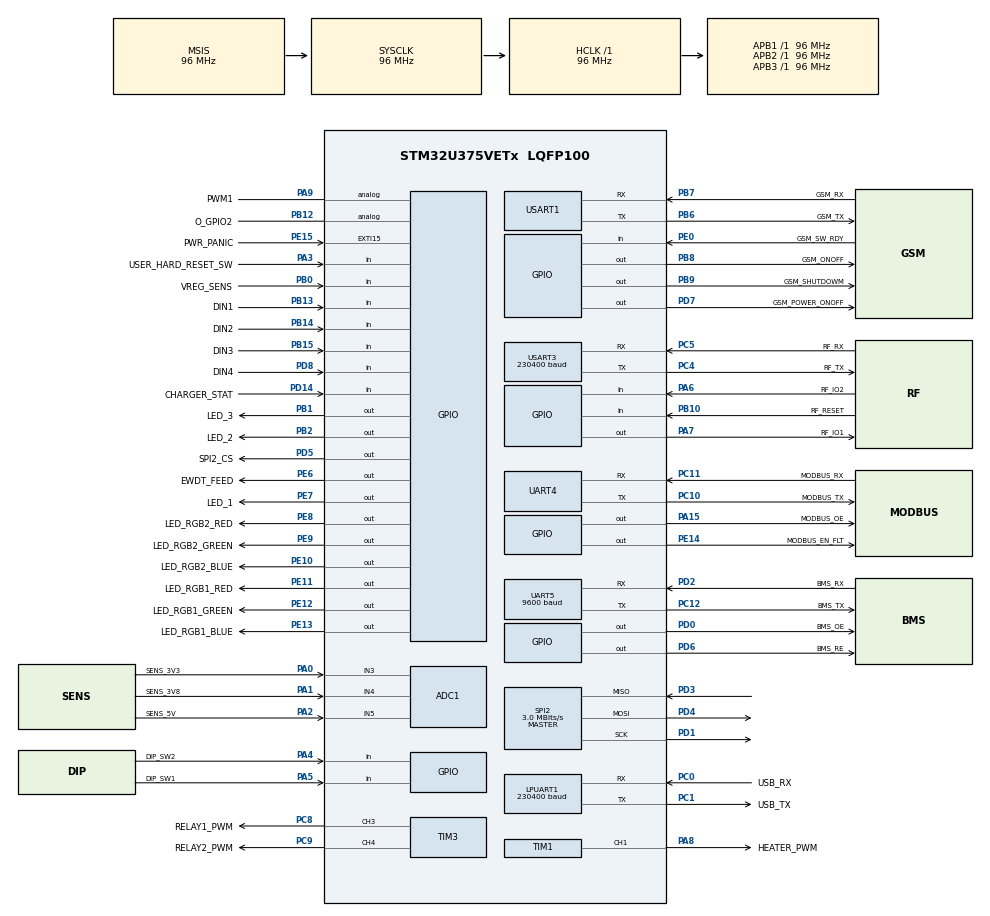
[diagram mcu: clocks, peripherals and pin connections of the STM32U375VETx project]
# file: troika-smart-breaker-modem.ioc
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ADC1.Channel-0\#ChannelRegularConversion=ADC_CHANNEL_3
ADC1.Channel-1\#ChannelRegularConversion=ADC_CHANNEL_4
ADC1.Channel-2\#ChannelRegularConversion=ADC_CHANNEL_5
ADC1.Channel-3\#ChannelRegularConversion=ADC_CHANNEL_TEMPSENSOR
ADC1.ContinuousConvMode=ENABLE
ADC1.ConversionDataManagement=ADC_CONVERSIONDATA_DMA_CIRCULAR
ADC1.EOCSelection=ADC_EOC_SEQ_CONV
ADC1.MonitoredBy-0\#ChannelRegularConversion=__NULL
ADC1.MonitoredBy-1\#ChannelRegularConversion=__NULL
ADC1.MonitoredBy-2\#ChannelRegularConversion=__NULL
ADC1.MonitoredBy-3\#ChannelRegularConversion=__NULL
ADC1.NbrOfConversion=4
ADC1.NbrOfConversionFlag=1
ADC1.OffsetNumber-0\#ChannelRegularConversion=ADC_OFFSET_NONE
ADC1.OffsetNumber-1\#ChannelRegularConversion=ADC_OFFSET_NONE
ADC1.OffsetNumber-2\#ChannelRegularConversion=ADC_OFFSET_NONE
ADC1.OffsetNumber-3\#ChannelRegularConversion=ADC_OFFSET_NONE
ADC1.Overrun=ADC_OVR_DATA_OVERWRITTEN
ADC1.OversamplingMode=ENABLE
ADC1.Rank-0\#ChannelRegularConversion=1
ADC1.Rank-1\#ChannelRegularConversion=2
ADC1.Rank-2\#ChannelRegularConversion=3
ADC1.Rank-3\#ChannelRegularConversion=4
ADC1.Ratio1=64
ADC1.RightBitShift=ADC_RIGHTBITSHIFT_6
ADC1.SamplingTime-0\#ChannelRegularConversion=ADC_SAMPLETIME_246CYCLES_5
ADC1.SamplingTime-1\#ChannelRegularConversion=ADC_SAMPLETIME_246CYCLES_5
ADC1.SamplingTime-2\#ChannelRegularConversion=ADC_SAMPLETIME_246CYCLES_5
ADC1.SamplingTime-3\#ChannelRegularConversion=ADC_SAMPLETIME_246CYCLES_5
ADC1.master=1
CORTEX_M33_NS.userName=CORTEX_M33
GPDMA1.CIRCULARMODE_GPDMACH0=ENABLE
GPDMA1.DESTDATAWIDTH_GPDMACH0=DMA_DEST_DATAWIDTH_HALFWORD
GPDMA1.DESTINC_GPDMACH0=DMA_DINC_INCREMENTED
GPDMA1.DIRECTION_GPDMACH1=DMA_MEMORY_TO_PERIPH
GPDMA1.DIRECTION_GPDMACH2=DMA_MEMORY_TO_PERIPH
GPDMA1.IPHANDLE_GPDMACH0-SIMPLEREQUEST_GPDMACH0=__NULL
GPDMA1.IPHANDLE_GPDMACH1-SIMPLEREQUEST_GPDMACH1=__NULL
GPDMA1.IPHANDLE_GPDMACH2-SIMPLEREQUEST_GPDMACH2=__NULL
GPDMA1.LINKALLOCATEDPORT_CIRCULAR_GPDMACH0=DMA_LINK_ALLOCATED_PORT0
GPDMA1.PRIORITY_GPDMACH1=DMA_LOW_PRIORITY_MID_WEIGHT
GPDMA1.REQUEST_GPDMACH0=GPDMA1_REQUEST_ADC1
GPDMA1.REQUEST_GPDMACH1=GPDMA1_REQUEST_USART1_TX
GPDMA1.REQUEST_GPDMACH2=GPDMA1_REQUEST_UART4_TX
GPDMA1.SRCDATAWIDTH_GPDMACH0=DMA_SRC_DATAWIDTH_HALFWORD
GPDMA1.SRCINC_GPDMACH1=DMA_SINC_INCREMENTED
GPDMA1.SRCINC_GPDMACH2=DMA_SINC_INCREMENTED
GPDMA1.TRANSFERALLOCATEDPORTDEST_GPDMACH0=DMA_DEST_ALLOCATED_PORT0
GPDMA1.TRANSFERALLOCATEDPORTDEST_GPDMACH1=DMA_DEST_ALLOCATED_PORT1
GPDMA1.TRANSFERALLOCATEDPORTSRC_GPDMACH0=DMA_SRC_ALLOCATED_PORT0
GPDMA1.TRANSFERALLOCATEDPORTSRC_GPDMACH1=DMA_SRC_ALLOCATED_PORT1
LPUART1.BaudRate=230400
Mcu.Family=STM32U3
Mcu.Name=STM32U375VETx
Mcu.Package=LQFP100
NVIC.EXTI15_IRQn=true\:0\:0\:false\:false\:true\:true\:true\:true
NVIC.GPDMA1_Channel0_IRQn=true\:0\:0\:false\:false\:true\:false\:true\:true
NVIC.GPDMA1_Channel1_IRQn=true\:0\:0\:false\:false\:true\:false\:true\:true
NVIC.GPDMA1_Channel2_IRQn=true\:0\:0\:false\:false\:true\:false\:true\:true
NVIC.LPUART1_IRQn=true\:0\:0\:false\:false\:true\:true\:true\:true
NVIC.PriorityGroup=NVIC_PRIORITYGROUP_4
NVIC.TIM17_IRQn=true\:15\:0\:false\:false\:true\:false\:true\:true
NVIC.TimeBase=TIM17_IRQn
NVIC.TimeBaseIP=TIM17
NVIC.UART4_IRQn=true\:0\:0\:false\:false\:true\:true\:true\:true
NVIC.UART5_IRQn=true\:0\:0\:false\:false\:true\:true\:true\:true
NVIC.USART1_IRQn=true\:0\:0\:false\:false\:true\:true\:true\:true
NVIC.USART3_IRQn=true\:0\:0\:false\:false\:true\:true\:true\:true
PA0.GPIO_Label=SENS_3V3
PA0.Mode=IN3-Single-Ended
PA0.Signal=ADC1_IN3
PA1.GPIO_Label=SENS_3V8
PA1.Mode=IN4-Single-Ended
PA1.Signal=ADC1_IN4
PA13\ (JTMS/SWDIO).Mode=Serial_Wire
PA13\ (JTMS/SWDIO).Signal=DEBUG_JTMS-SWDIO
PA14\ (JTCK/SWCLK).Mode=Serial_Wire
PA14\ (JTCK/SWCLK).Signal=DEBUG_JTCK-SWCLK
PA15\ (JTDI).GPIO_Label=MODBUS_OE
PA15\ (JTDI).Signal=GPIO_Output
PA2.GPIO_Label=SENS_5V
PA2.Mode=IN5-Single-Ended
PA2.Signal=ADC1_IN5
PA3.GPIO_Label=USER_HARD_RESET_SW
PA3.Signal=GPIO_Input
PA4.GPIO_Label=DIP_SW2
PA4.Signal=GPIO_Input
PA5.GPIO_Label=DIP_SW1
PA5.Signal=GPIO_Input
PA6.GPIO_Label=RF_IO2
PA6.Signal=GPIO_Input
PA7.GPIO_Label=RF_IO1
PA7.GPIO_Speed=GPIO_SPEED_FREQ_VERY_HIGH
PA7.Signal=GPIO_Output
PA8.GPIO_Label=HEATER_PWM
PA8.Signal=S_TIM1_CH1
PA9.GPIO_Label=PWM1
PA9.Signal=GPIO_Analog
PB0.GPIO_Label=VREG_SENS
PB0.Signal=GPIO_Input
PB1.GPIO_Label=LED_3
PB1.PinState=GPIO_PIN_SET
PB1.Signal=GPIO_Output
PB10.GPIO_Label=RF_RESET
PB10.Signal=GPIO_Input
PB12.GPIO_Label=O_GPIO2
PB12.Signal=GPIO_Analog
PB13.GPIO_Label=DIN1
PB13.Signal=GPIO_Input
PB14.GPIO_Label=DIN2
PB14.Signal=GPIO_Input
PB15.GPIO_Label=DIN3
PB15.Signal=GPIO_Input
PB2.GPIO_Label=LED_2
PB2.PinState=GPIO_PIN_SET
PB2.Signal=GPIO_Output
PB6.GPIO_Label=GSM_TX
PB6.Mode=Asynchronous
PB6.Signal=USART1_TX
PB7.GPIO_Label=GSM_RX
PB7.Mode=Asynchronous
PB7.Signal=USART1_RX
PB8.GPIO_Label=GSM_ONOFF
PB8.Signal=GPIO_Output
PB9.GPIO_Label=GSM_SHUTDOWM
PB9.Signal=GPIO_Output
PC0.GPIO_Label=USB_RX
PC0.Mode=Asynchronous
PC0.Signal=LPUART1_RX
PC1.GPIO_Label=USB_TX
PC1.Mode=Asynchronous
PC1.Signal=LPUART1_TX
PC10.GPIO_Label=MODBUS_TX
PC10.Mode=Asynchronous
PC10.Signal=UART4_TX
PC11.GPIO_Label=MODBUS_RX
PC11.Mode=Asynchronous
PC11.Signal=UART4_RX
PC12.GPIO_Label=BMS_TX
PC12.Mode=Asynchronous
PC12.Signal=UART5_TX
PC14-OSC32_IN\ (PC14).Mode=LSE-External-Oscillator
PC14-OSC32_IN\ (PC14).Signal=RCC_OSC32_IN
PC15-OSC32_OUT\ (PC15).Mode=LSE-External-Oscillator
PC15-OSC32_OUT\ (PC15).Signal=RCC_OSC32_OUT
PC4.GPIO_Label=RF_TX
PC4.Mode=Asynchronous
PC4.Signal=USART3_TX
PC5.GPIO_Label=RF_RX
PC5.Mode=Asynchronous
PC5.Signal=USART3_RX
PC8.GPIO_Label=RELAY1_PWM
PC8.Signal=S_TIM3_CH3
PC9.GPIO_Label=RELAY2_PWM
PC9.Signal=S_TIM3_CH4
PD0.GPIO_Label=BMS_OE
PD0.Signal=GPIO_Output
PD1.Mode=Full_Duplex_Master
PD1.Signal=SPI2_SCK
PD14.GPIO_Label=CHARGER_STAT
PD14.Signal=GPIO_Input
PD2.GPIO_Label=BMS_RX
PD2.Mode=Asynchronous
PD2.Signal=UART5_RX
PD3.Mode=Full_Duplex_Master
PD3.Signal=SPI2_MISO
PD4.Mode=Full_Duplex_Master
PD4.Signal=SPI2_MOSI
PD5.GPIO_Label=SPI2_CS
PD5.Signal=GPIO_Output
PD6.GPIO_Label=BMS_RE
PD6.Signal=GPIO_Output
PD7.GPIO_Label=GSM_POWER_ONOFF
PD7.Signal=GPIO_Output
PD8.GPIO_Label=DIN4
PD8.Signal=GPIO_Input
PE0.GPIO_Label=GSM_SW_RDY
PE0.Signal=GPIO_Input
PE10.GPIO_Label=LED_RGB2_BLUE
PE10.GPIO_Speed=GPIO_SPEED_FREQ_VERY_HIGH
PE10.Signal=GPIO_Output
PE11.GPIO_Label=LED_RGB1_RED
PE11.GPIO_Speed=GPIO_SPEED_FREQ_VERY_HIGH
PE11.Signal=GPIO_Output
PE12.GPIO_Label=LED_RGB1_GREEN
PE12.GPIO_Speed=GPIO_SPEED_FREQ_VERY_HIGH
PE12.Signal=GPIO_Output
PE13.GPIO_Label=LED_RGB1_BLUE
PE13.GPIO_Speed=GPIO_SPEED_FREQ_VERY_HIGH
PE13.Signal=GPIO_Output
PE14.GPIO_Label=MODBUS_EN_FLT
PE14.GPIO_ModeDefaultOutputPP=GPIO_MODE_OUTPUT_OD
PE14.GPIO_PuPd=GPIO_NOPULL
PE14.GPIO_Speed=GPIO_SPEED_FREQ_VERY_HIGH
PE14.Signal=GPIO_Output
PE15.GPIO_Label=PWR_PANIC
PE15.GPIO_ModeDefaultEXTI=GPIO_MODE_IT_RISING_FALLING
PE15.Signal=GPXTI15
PE6.GPIO_Label=EWDT_FEED
PE6.Signal=GPIO_Output
PE7.GPIO_Label=LED_1
PE7.GPIO_Speed=GPIO_SPEED_FREQ_VERY_HIGH
PE7.PinState=GPIO_PIN_SET
PE7.Signal=GPIO_Output
PE8.GPIO_Label=LED_RGB2_RED
PE8.GPIO_Speed=GPIO_SPEED_FREQ_VERY_HIGH
PE8.Signal=GPIO_Output
PE9.GPIO_Label=LED_RGB2_GREEN
PE9.GPIO_Speed=GPIO_SPEED_FREQ_VERY_HIGH
PE9.Signal=GPIO_Output
PH0-OSC_IN\ (PH0).Mode=HSE-External-Oscillator
PH0-OSC_IN\ (PH0).Signal=RCC_OSC_IN
PH1-OSC_OUT\ (PH1).Mode=HSE-External-Oscillator
PH1-OSC_OUT\ (PH1).Signal=RCC_OSC_OUT
ProjectManager.HeapSize=0x200
ProjectManager.StackSize=0x1000
ProjectManager.TargetToolchain=STM32CubeIDE
RCC.ADCCLockSelection=RCC_ADCDACCLKSOURCE_HSE
RCC.ADCFreq_Value=1500000
RCC.ADC_DIV=RCC_ADCDACCLK_DIV16
RCC.AHBFreq_Value=96000000
RCC.APB1Freq_Value=96000000
RCC.APB1TimFreq_Value=96000000
RCC.APB2Freq_Value=96000000
RCC.APB2TimFreq_Value=96000000
RCC.APB3Freq_Value=96000000
RCC.CortexFreq_Value=12000000
RCC.HCLKFreq_Value=96000000
RCC.HSE_VALUE=24000000
RCC.HSI48_VALUE=48000000
RCC.HSI_VALUE=16000000
RCC.LSIDIV_VALUE=32000
RCC.MSISDIV=RCC_MSI_DIV1
RCC.RTCClockSelection=RCC_RTCCLKSOURCE_LSE
RCC.SYSCLKFreq_VALUE=96000000
RCC.SupplySource=PWR_LDO_SUPPLY
RCC.USBFreq_Value=96000000
SH.S_TIM1_CH1.0=TIM1_CH1,PWM Generation1 CH1
SH.S_TIM3_CH3.0=TIM3_CH3,PWM Generation3 CH3
SH.S_TIM3_CH4.0=TIM3_CH4,PWM Generation4 CH4
SPI2.BaudRatePrescaler=SPI_BAUDRATEPRESCALER_32
SPI2.CalculateBaudRate=3.0 MBits/s
SPI2.DataSize=SPI_DATASIZE_8BIT
SPI2.Direction=SPI_DIRECTION_2LINES
SPI2.Mode=SPI_MODE_MASTER
SPI2.VirtualType=VM_MASTER
TIM1.Channel-PWM\ Generation1\ CH1=TIM_CHANNEL_1
TIM3.Channel-PWM\ Generation3\ CH3=TIM_CHANNEL_3
TIM3.Channel-PWM\ Generation4\ CH4=TIM_CHANNEL_4
UART5.BaudRate=9600
USART1.VirtualMode-Asynchronous=VM_ASYNC
USART3.BaudRate=230400
USART3.VirtualMode-Asynchronous=VM_ASYNC
VP_ADC1_TempSens_Input.Mode=IN-TempSens
VP_CORTEX_M33_NS_VS_Hclk.Mode=Hclk_Mode
VP_GPDMA1_VS_GPDMACH0.Mode=SIMPLEREQUEST_GPDMACH0
VP_GPDMA1_VS_GPDMACH1.Mode=SIMPLEREQUEST_GPDMACH1
VP_GPDMA1_VS_GPDMACH2.Mode=SIMPLEREQUEST_GPDMACH2
VP_ICACHE_VS_ICACHE.Mode=DefaultMode
VP_MEMORYMAP_VS_MEMORYMAP.Mode=CurAppReg
VP_PWR_VS_DBSignals.Mode=DisableDeadBatterySignals
VP_PWR_VS_LPOM.Mode=PowerOptimisation
VP_PWR_VS_SECSignals.Mode=Security/Privilege
VP_RNG_VS_RNG.Mode=RNG_Activate
VP_RTC_VS_RTC_Activate.Mode=RTC_Enabled
VP_SYS_VS_tim17.Mode=TIM17
board=custom

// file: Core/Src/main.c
/* USER CODE BEGIN Header */
/**
  ******************************************************************************
  * @file           : main.c
  * @brief          : Main program body
  * Author: Fatih Ozcan
  *         fatihozcan@gmail.com
  ******************************************************************************
  * @attention
  *
  * Copyright (c) 2026 STMicroelectronics.
  * All rights reserved.
  *
  * This software is licensed under terms that can be found in the LICENSE file
  * in the root directory of this software component.
  * If no LICENSE file comes with this software, it is provided AS-IS.
  *
  ******************************************************************************
  */
/* USER CODE END Header */
#include "main.h"

/* USER CODE BEGIN Includes */
#include "reset_source.h"
/* USER CODE END Includes */

ADC_HandleTypeDef hadc1;
DMA_NodeTypeDef Node_GPDMA1_Channel0;
DMA_QListTypeDef List_GPDMA1_Channel0;
DMA_HandleTypeDef handle_GPDMA1_Channel0;

UART_HandleTypeDef huart4;
UART_HandleTypeDef huart5;
UART_HandleTypeDef huart1;
DMA_HandleTypeDef handle_GPDMA1_Channel2;
DMA_HandleTypeDef handle_GPDMA1_Channel1;

RNG_HandleTypeDef hrng;

RTC_HandleTypeDef hrtc;

TIM_HandleTypeDef htim1;
TIM_HandleTypeDef htim3;

void SystemClock_Config(void);
static void MX_GPIO_Init(void);
static void MX_GPDMA1_Init(void);
static void MX_LPUART1_UART_Init(void);
static void MX_UART4_Init(void);
static void MX_UART5_Init(void);
static void MX_USART1_UART_Init(void);
static void MX_USART3_UART_Init(void);
static void MX_TIM3_Init(void);
static void MX_SPI2_Init(void);
static void MX_TIM1_Init(void);
static void MX_ADC1_Init(void);
static void MX_ICACHE_Init(void);
static void MX_RTC_Init(void);
static void MX_RNG_Init(void);

/* USER CODE BEGIN 0 */
void HAL_UART_TxCpltCallback(UART_HandleTypeDef *huart)
{

    if (huart->Instance == USART1)
    {
    	void at_engine_dma_tx_complete_callback(void);
    	at_engine_dma_tx_complete_callback();
    }
    else if (huart->Instance == UART4)
    {
    	void modbus_process_tx_complete_callback(void);
    	modbus_process_tx_complete_callback();
    }
}
/* USER CODE END 0 */

int main(void)
{

  /* USER CODE BEGIN 1 */
#ifndef DEBUG
	//SCB->VTOR = FLASH_BASE | 0x10000; /* 64KB bootloader */
	SCB->VTOR = FLASH_BASE | 0x14000;   /* 80KB bootloader */
#endif

	for(volatile int i = 0; i < 500000; i++){
		__NOP();
	}

	reset_source_init();
  /* USER CODE END 1 */

  /* MCU Configuration--------------------------------------------------------*/

  /* Reset of all peripherals, Initializes the Flash interface and the Systick. */
  HAL_Init();

  /* USER CODE BEGIN Init */
  /* Enable VREFBUF: clock + VDDA supply + 2.5V output to VREF+ pin */
  __HAL_RCC_VREF_CLK_ENABLE();
  HAL_SYSCFG_VREFBUF_VoltageScalingConfig(SYSCFG_VREFBUF_VOLTAGE_SCALE3);  /* 2.5V */
  HAL_SYSCFG_VREFBUF_HighImpedanceConfig(SYSCFG_VREFBUF_HIGH_IMPEDANCE_DISABLE);
  if (HAL_SYSCFG_EnableVREFBUF() != HAL_OK) {
    /* VREFBUF failed — will fall back to whatever is on VREF+ */
  }
  /* USER CODE END Init */

  /* Configure the system clock */
  SystemClock_Config();

  /* Initialize all configured peripherals */
  MX_GPIO_Init();
  MX_GPDMA1_Init();
  MX_LPUART1_UART_Init();
  MX_UART4_Init();
  MX_UART5_Init();
  MX_USART1_UART_Init();
  MX_USART3_UART_Init();
  MX_TIM3_Init();
  MX_SPI2_Init();
  MX_TIM1_Init();
  MX_ADC1_Init();
  MX_ICACHE_Init();
  MX_RTC_Init();
  MX_RNG_Init();
  /* USER CODE BEGIN 2 */

#ifdef DEBUG
  LL_GPIO_SetPinMode(EWDT_FEED_GPIO_Port, EWDT_FEED_Pin, LL_GPIO_MODE_INPUT);
#endif

  /* BOLATeX RF-SCP answer (BQ-08 ek not): the RTU no longer talks to
   * the power board over direct I2C; power data flows via MH/SCP only.
   * Keep the I2C3 peripheral off and its SCL/SDA pins high-impedance. */
  HAL_GPIO_DeInit(GPIOD, GPIO_PIN_12 | GPIO_PIN_13);

  HAL_ADCEx_Calibration_Start(&hadc1, ADC_SINGLE_ENDED);

  LL_SPI_Enable(SPI2);
  LL_SPI_StartMasterTransfer(SPI2);

  extern void app_main(void);
  app_main();

  /* USER CODE END 2 */

  /* Infinite loop */
  while (1)
  {

  }
}

void SystemClock_Config(void)
{
  RCC_OscInitTypeDef RCC_OscInitStruct = {0};
  RCC_ClkInitTypeDef RCC_ClkInitStruct = {0};

  /** Enable Epod Booster
  */
  if (HAL_RCCEx_EpodBoosterClkConfig(RCC_EPODBOOSTER_SOURCE_MSIS, RCC_EPODBOOSTER_DIV1) != HAL_OK)
  {
    Error_Handler();
  }
  if (HAL_PWREx_EnableEpodBooster() != HAL_OK)
  {
    Error_Handler();
  }

  /** Configure the main internal regulator output voltage
  */
  if (HAL_PWREx_ControlVoltageScaling(PWR_REGULATOR_VOLTAGE_SCALE1) != HAL_OK)
  {
    Error_Handler();
  }

  /** Set Flash latency before increasing MSIS
  */
  __HAL_FLASH_SET_LATENCY(FLASH_LATENCY_2);

  /** Configure LSE Drive Capability
  */
  HAL_PWR_EnableBkUpAccess();
  __HAL_RCC_LSEDRIVE_CONFIG(RCC_LSEDRIVE_LOW);

  /** Initializes the CPU, AHB and APB buses clocks
  */
  RCC_OscInitStruct.OscillatorType = RCC_OSCILLATORTYPE_HSI48|RCC_OSCILLATORTYPE_HSE
                              |RCC_OSCILLATORTYPE_LSE|RCC_OSCILLATORTYPE_MSIS;
  RCC_OscInitStruct.HSEState = RCC_HSE_ON;
  RCC_OscInitStruct.HSI48State = RCC_HSI48_ON;
  RCC_OscInitStruct.LSEState = RCC_LSE_ON;
  RCC_OscInitStruct.MSISState = RCC_MSI_ON;
  RCC_OscInitStruct.MSISSource = RCC_MSI_RC0;
  RCC_OscInitStruct.MSISDiv = RCC_MSI_DIV1;
  if (HAL_RCC_OscConfig(&RCC_OscInitStruct) != HAL_OK)
  {
    Error_Handler();
  }

  /** Initializes the CPU, AHB and APB buses clocks
  */
  RCC_ClkInitStruct.ClockType = RCC_CLOCKTYPE_HCLK|RCC_CLOCKTYPE_SYSCLK
                              |RCC_CLOCKTYPE_PCLK1|RCC_CLOCKTYPE_PCLK2
                              |RCC_CLOCKTYPE_PCLK3;
  RCC_ClkInitStruct.SYSCLKSource = RCC_SYSCLKSOURCE_MSIS;
  RCC_ClkInitStruct.AHBCLKDivider = RCC_SYSCLK_DIV1;
  RCC_ClkInitStruct.APB1CLKDivider = RCC_HCLK_DIV1;
  RCC_ClkInitStruct.APB2CLKDivider = RCC_HCLK_DIV1;
  RCC_ClkInitStruct.APB3CLKDivider = RCC_HCLK_DIV1;

  if (HAL_RCC_ClockConfig(&RCC_ClkInitStruct, FLASH_LATENCY_2) != HAL_OK)
  {
    Error_Handler();
  }
}

static void MX_ADC1_Init(void)
{

  ADC_ChannelConfTypeDef sConfig = {0};

  /** Common config
  */
  hadc1.Instance = ADC1;
  hadc1.Init.Resolution = ADC_RESOLUTION_12B;
  hadc1.Init.GainCompensation = 0;
  hadc1.Init.ScanConvMode = ADC_SCAN_ENABLE;
  hadc1.Init.EOCSelection = ADC_EOC_SEQ_CONV;
  hadc1.Init.LowPowerAutoWait = DISABLE;
  hadc1.Init.ContinuousConvMode = ENABLE;
  hadc1.Init.NbrOfConversion = 4;
  hadc1.Init.DiscontinuousConvMode = DISABLE;
  hadc1.Init.ExternalTrigConv = ADC_SOFTWARE_START;
  hadc1.Init.ExternalTrigConvEdge = ADC_EXTERNALTRIGCONVEDGE_NONE;
  hadc1.Init.Overrun = ADC_OVR_DATA_OVERWRITTEN;
  hadc1.Init.LeftBitShift = ADC_LEFTBITSHIFT_NONE;
  hadc1.Init.ConversionDataManagement = ADC_CONVERSIONDATA_DMA_CIRCULAR;
  hadc1.Init.OversamplingMode = ENABLE;
  hadc1.Init.Oversampling.Ratio = 64;
  hadc1.Init.Oversampling.RightBitShift = ADC_RIGHTBITSHIFT_6;
  hadc1.Init.Oversampling.TriggeredMode = ADC_TRIGGEREDMODE_SINGLE_TRIGGER;
  hadc1.Init.Oversampling.OversamplingStopReset = ADC_REGOVERSAMPLING_CONTINUED_MODE;
  if (HAL_ADC_Init(&hadc1) != HAL_OK)
  {
    Error_Handler();
  }

  /** Configure Regular Channel
  */
  sConfig.Channel = ADC_CHANNEL_3;
  sConfig.Rank = ADC_REGULAR_RANK_1;
  sConfig.SamplingTime = ADC_SAMPLETIME_246CYCLES_5;
  sConfig.OffsetNumber = ADC_OFFSET_NONE;
  sConfig.Offset = 0;
  if (HAL_ADC_ConfigChannel(&hadc1, &sConfig) != HAL_OK)
  {
    Error_Handler();
  }

  /** Configure Regular Channel
  */
  sConfig.Channel = ADC_CHANNEL_4;
  sConfig.Rank = ADC_REGULAR_RANK_2;
  if (HAL_ADC_ConfigChannel(&hadc1, &sConfig) != HAL_OK)
  {
    Error_Handler();
  }

  /** Configure Regular Channel
  */
  sConfig.Channel = ADC_CHANNEL_5;
  sConfig.Rank = ADC_REGULAR_RANK_3;
  if (HAL_ADC_ConfigChannel(&hadc1, &sConfig) != HAL_OK)
  {
    Error_Handler();
  }

  /** Configure Regular Channel
  */
  sConfig.Channel = ADC_CHANNEL_TEMPSENSOR;
  sConfig.Rank = ADC_REGULAR_RANK_4;
  if (HAL_ADC_ConfigChannel(&hadc1, &sConfig) != HAL_OK)
  {
    Error_Handler();
  }

}

static void MX_GPDMA1_Init(void)
{

  /* Peripheral clock enable */
  __HAL_RCC_GPDMA1_CLK_ENABLE();

  /* GPDMA1 interrupt Init */
    HAL_NVIC_SetPriority(GPDMA1_Channel0_IRQn, 0, 0);
    HAL_NVIC_EnableIRQ(GPDMA1_Channel0_IRQn);
    HAL_NVIC_SetPriority(GPDMA1_Channel1_IRQn, 0, 0);
    HAL_NVIC_EnableIRQ(GPDMA1_Channel1_IRQn);
    HAL_NVIC_SetPriority(GPDMA1_Channel2_IRQn, 0, 0);
    HAL_NVIC_EnableIRQ(GPDMA1_Channel2_IRQn);

}

static void MX_ICACHE_Init(void)
{

  /** Enable instruction cache (default 2-ways set associative cache)
  */
  if (HAL_ICACHE_Enable() != HAL_OK)
  {
    Error_Handler();
  }

}

static void MX_LPUART1_UART_Init(void)
{

  LL_LPUART_InitTypeDef LPUART_InitStruct = {0};

  LL_GPIO_InitTypeDef GPIO_InitStruct = {0};
  RCC_PeriphCLKInitTypeDef PeriphClkInit = {0};

  /** Initializes the peripherals clock
  */
  PeriphClkInit.PeriphClockSelection = RCC_PERIPHCLK_LPUART1;
  PeriphClkInit.Lpuart1ClockSelection = RCC_LPUART1CLKSOURCE_PCLK3;
  if (HAL_RCCEx_PeriphCLKConfig(&PeriphClkInit) != HAL_OK)
  {
    Error_Handler();
  }

  /* Peripheral clock enable */
  LL_APB3_GRP1_EnableClock(LL_APB3_GRP1_PERIPH_LPUART1);

  LL_AHB2_GRP1_EnableClock(LL_AHB2_GRP1_PERIPH_GPIOC);
  /**LPUART1 GPIO Configuration
  PC0   ------> LPUART1_RX
  PC1   ------> LPUART1_TX
  */
  GPIO_InitStruct.Pin = USB_RX_Pin|USB_TX_Pin;
  GPIO_InitStruct.Mode = LL_GPIO_MODE_ALTERNATE;
  GPIO_InitStruct.Speed = LL_GPIO_SPEED_FREQ_LOW;
  GPIO_InitStruct.OutputType = LL_GPIO_OUTPUT_PUSHPULL;
  GPIO_InitStruct.Pull = LL_GPIO_PULL_NO;
  GPIO_InitStruct.Alternate = LL_GPIO_AF_8;
  LL_GPIO_Init(GPIOC, &GPIO_InitStruct);

  /* LPUART1 interrupt Init */
  NVIC_SetPriority(LPUART1_IRQn, NVIC_EncodePriority(NVIC_GetPriorityGrouping(),0, 0));
  NVIC_EnableIRQ(LPUART1_IRQn);

  LPUART_InitStruct.PrescalerValue = LL_LPUART_PRESCALER_DIV1;
  LPUART_InitStruct.BaudRate = 230400;
  LPUART_InitStruct.DataWidth = LL_LPUART_DATAWIDTH_8B;
  LPUART_InitStruct.StopBits = LL_LPUART_STOPBITS_1;
  LPUART_InitStruct.Parity = LL_LPUART_PARITY_NONE;
  LPUART_InitStruct.TransferDirection = LL_LPUART_DIRECTION_TX_RX;
  LPUART_InitStruct.HardwareFlowControl = LL_LPUART_HWCONTROL_NONE;
  LL_LPUART_Init(LPUART1, &LPUART_InitStruct);
  LL_LPUART_SetTXFIFOThreshold(LPUART1, LL_LPUART_FIFOTHRESHOLD_1_8);
  LL_LPUART_SetRXFIFOThreshold(LPUART1, LL_LPUART_FIFOTHRESHOLD_1_8);
  LL_LPUART_DisableFIFO(LPUART1);
  LL_LPUART_Enable(LPUART1);

}

static void MX_UART4_Init(void)
{

  huart4.Instance = UART4;
  huart4.Init.BaudRate = 115200;
  huart4.Init.WordLength = UART_WORDLENGTH_8B;
  huart4.Init.StopBits = UART_STOPBITS_1;
  huart4.Init.Parity = UART_PARITY_NONE;
  huart4.Init.Mode = UART_MODE_TX_RX;
  huart4.Init.HwFlowCtl = UART_HWCONTROL_NONE;
  huart4.Init.OverSampling = UART_OVERSAMPLING_16;
  huart4.Init.OneBitSampling = UART_ONE_BIT_SAMPLE_DISABLE;
  huart4.Init.ClockPrescaler = UART_PRESCALER_DIV1;
  huart4.AdvancedInit.AdvFeatureInit = UART_ADVFEATURE_NO_INIT;
  if (HAL_UART_Init(&huart4) != HAL_OK)
  {
    Error_Handler();
  }
  if (HAL_UARTEx_SetTxFifoThreshold(&huart4, UART_TXFIFO_THRESHOLD_1_8) != HAL_OK)
  {
    Error_Handler();
  }
  if (HAL_UARTEx_SetRxFifoThreshold(&huart4, UART_RXFIFO_THRESHOLD_1_8) != HAL_OK)
  {
    Error_Handler();
  }
  if (HAL_UARTEx_DisableFifoMode(&huart4) != HAL_OK)
  {
    Error_Handler();
  }

}

static void MX_UART5_Init(void)
{

  huart5.Instance = UART5;
  huart5.Init.BaudRate = 9600;
  huart5.Init.WordLength = UART_WORDLENGTH_8B;
  huart5.Init.StopBits = UART_STOPBITS_1;
  huart5.Init.Parity = UART_PARITY_NONE;
  huart5.Init.Mode = UART_MODE_TX_RX;
  huart5.Init.HwFlowCtl = UART_HWCONTROL_NONE;
  huart5.Init.OverSampling = UART_OVERSAMPLING_16;
  huart5.Init.OneBitSampling = UART_ONE_BIT_SAMPLE_DISABLE;
  huart5.Init.ClockPrescaler = UART_PRESCALER_DIV1;
  huart5.AdvancedInit.AdvFeatureInit = UART_ADVFEATURE_NO_INIT;
  if (HAL_UART_Init(&huart5) != HAL_OK)
  {
    Error_Handler();
  }
  if (HAL_UARTEx_SetTxFifoThreshold(&huart5, UART_TXFIFO_THRESHOLD_1_8) != HAL_OK)
  {
    Error_Handler();
  }
  if (HAL_UARTEx_SetRxFifoThreshold(&huart5, UART_RXFIFO_THRESHOLD_1_8) != HAL_OK)
  {
    Error_Handler();
  }
  if (HAL_UARTEx_DisableFifoMode(&huart5) != HAL_OK)
  {
    Error_Handler();
  }

}

static void MX_USART1_UART_Init(void)
{

  huart1.Instance = USART1;
  huart1.Init.BaudRate = 115200;
  huart1.Init.WordLength = UART_WORDLENGTH_8B;
  huart1.Init.StopBits = UART_STOPBITS_1;
  huart1.Init.Parity = UART_PARITY_NONE;
  huart1.Init.Mode = UART_MODE_TX_RX;
  huart1.Init.HwFlowCtl = UART_HWCONTROL_NONE;
  huart1.Init.OverSampling = UART_OVERSAMPLING_16;
  huart1.Init.OneBitSampling = UART_ONE_BIT_SAMPLE_DISABLE;
  huart1.Init.ClockPrescaler = UART_PRESCALER_DIV1;
  huart1.AdvancedInit.AdvFeatureInit = UART_ADVFEATURE_NO_INIT;
  if (HAL_UART_Init(&huart1) != HAL_OK)
  {
    Error_Handler();
  }
  if (HAL_UARTEx_SetTxFifoThreshold(&huart1, UART_TXFIFO_THRESHOLD_1_8) != HAL_OK)
  {
    Error_Handler();
  }
  if (HAL_UARTEx_SetRxFifoThreshold(&huart1, UART_RXFIFO_THRESHOLD_1_8) != HAL_OK)
  {
    Error_Handler();
  }
  if (HAL_UARTEx_DisableFifoMode(&huart1) != HAL_OK)
  {
    Error_Handler();
  }

}

static void MX_USART3_UART_Init(void)
{

  LL_USART_InitTypeDef USART_InitStruct = {0};

  LL_GPIO_InitTypeDef GPIO_InitStruct = {0};
  RCC_PeriphCLKInitTypeDef PeriphClkInit = {0};

  /** Initializes the peripherals clock
  */
  PeriphClkInit.PeriphClockSelection = RCC_PERIPHCLK_USART3;
  PeriphClkInit.Usart3ClockSelection = RCC_USART3CLKSOURCE_PCLK1;
  if (HAL_RCCEx_PeriphCLKConfig(&PeriphClkInit) != HAL_OK)
  {
    Error_Handler();
  }

  /* Peripheral clock enable */
  LL_APB1_GRP1_EnableClock(LL_APB1_GRP1_PERIPH_USART3);

  LL_AHB2_GRP1_EnableClock(LL_AHB2_GRP1_PERIPH_GPIOC);
  /**USART3 GPIO Configuration
  PC4   ------> USART3_TX
  PC5   ------> USART3_RX
  */
  GPIO_InitStruct.Pin = RF_TX_Pin|RF_RX_Pin;
  GPIO_InitStruct.Mode = LL_GPIO_MODE_ALTERNATE;
  GPIO_InitStruct.Speed = LL_GPIO_SPEED_FREQ_LOW;
  GPIO_InitStruct.OutputType = LL_GPIO_OUTPUT_PUSHPULL;
  GPIO_InitStruct.Pull = LL_GPIO_PULL_NO;
  GPIO_InitStruct.Alternate = LL_GPIO_AF_7;
  LL_GPIO_Init(GPIOC, &GPIO_InitStruct);

  /* USART3 interrupt Init */
  NVIC_SetPriority(USART3_IRQn, NVIC_EncodePriority(NVIC_GetPriorityGrouping(),0, 0));
  NVIC_EnableIRQ(USART3_IRQn);

  USART_InitStruct.PrescalerValue = LL_USART_PRESCALER_DIV1;
  USART_InitStruct.BaudRate = 230400;
  USART_InitStruct.DataWidth = LL_USART_DATAWIDTH_8B;
  USART_InitStruct.StopBits = LL_USART_STOPBITS_1;
  USART_InitStruct.Parity = LL_USART_PARITY_NONE;
  USART_InitStruct.TransferDirection = LL_USART_DIRECTION_TX_RX;
  USART_InitStruct.HardwareFlowControl = LL_USART_HWCONTROL_NONE;
  USART_InitStruct.OverSampling = LL_USART_OVERSAMPLING_16;
  LL_USART_Init(USART3, &USART_InitStruct);
  LL_USART_SetTXFIFOThreshold(USART3, LL_USART_FIFOTHRESHOLD_1_8);
  LL_USART_SetRXFIFOThreshold(USART3, LL_USART_FIFOTHRESHOLD_1_8);
  LL_USART_DisableFIFO(USART3);
  LL_USART_ConfigAsyncMode(USART3);
  LL_USART_Enable(USART3);

}

static void MX_RNG_Init(void)
{

  hrng.Instance = RNG;
  hrng.Init.ClockErrorDetection = RNG_CED_ENABLE;
  if (HAL_RNG_Init(&hrng) != HAL_OK)
  {
    Error_Handler();
  }

}

static void MX_RTC_Init(void)
{

  RTC_PrivilegeStateTypeDef privilegeState = {0};

  /** Initialize RTC Only
  */
  hrtc.Instance = RTC;
  hrtc.Init.HourFormat = RTC_HOURFORMAT_24;
  hrtc.Init.AsynchPrediv = 127;
  hrtc.Init.SynchPrediv = 255;
  hrtc.Init.OutPut = RTC_OUTPUT_DISABLE;
  hrtc.Init.OutPutRemap = RTC_OUTPUT_REMAP_NONE;
  hrtc.Init.OutPutPolarity = RTC_OUTPUT_POLARITY_HIGH;
  hrtc.Init.OutPutType = RTC_OUTPUT_TYPE_OPENDRAIN;
  hrtc.Init.OutPutPullUp = RTC_OUTPUT_PULLUP_NONE;
  hrtc.Init.BinMode = RTC_BINARY_NONE;
  if (HAL_RTC_Init(&hrtc) != HAL_OK)
  {
    Error_Handler();
  }
  privilegeState.rtcPrivilegeFull = RTC_PRIVILEGE_FULL_NO;
  privilegeState.backupRegisterPrivZone = RTC_PRIVILEGE_BKUP_ZONE_NONE;
  privilegeState.backupRegisterStartZone2 = RTC_BKP_DR0;
  privilegeState.backupRegisterStartZone3 = RTC_BKP_DR0;
  if (HAL_RTCEx_PrivilegeModeSet(&hrtc, &privilegeState) != HAL_OK)
  {
    Error_Handler();
  }

}

static void MX_SPI2_Init(void)
{

  LL_SPI_InitTypeDef SPI_InitStruct = {0};

  LL_GPIO_InitTypeDef GPIO_InitStruct = {0};
  RCC_PeriphCLKInitTypeDef PeriphClkInit = {0};

  /** Initializes the peripherals clock
  */
  PeriphClkInit.PeriphClockSelection = RCC_PERIPHCLK_SPI2;
  PeriphClkInit.Spi2ClockSelection = RCC_SPI2CLKSOURCE_PCLK1;
  if (HAL_RCCEx_PeriphCLKConfig(&PeriphClkInit) != HAL_OK)
  {
    Error_Handler();
  }

  /* Peripheral clock enable */
  LL_APB1_GRP1_EnableClock(LL_APB1_GRP1_PERIPH_SPI2);

  LL_AHB2_GRP1_EnableClock(LL_AHB2_GRP1_PERIPH_GPIOD);
  /**SPI2 GPIO Configuration
  PD1   ------> SPI2_SCK
  PD3   ------> SPI2_MISO
  PD4   ------> SPI2_MOSI
  */
  GPIO_InitStruct.Pin = LL_GPIO_PIN_1|LL_GPIO_PIN_3|LL_GPIO_PIN_4;
  GPIO_InitStruct.Mode = LL_GPIO_MODE_ALTERNATE;
  GPIO_InitStruct.Speed = LL_GPIO_SPEED_FREQ_LOW;
  GPIO_InitStruct.OutputType = LL_GPIO_OUTPUT_PUSHPULL;
  GPIO_InitStruct.Pull = LL_GPIO_PULL_NO;
  GPIO_InitStruct.Alternate = LL_GPIO_AF_5;
  LL_GPIO_Init(GPIOD, &GPIO_InitStruct);

  /* SPI2 parameter configuration*/
  SPI_InitStruct.TransferDirection = LL_SPI_FULL_DUPLEX;
  SPI_InitStruct.Mode = LL_SPI_MODE_MASTER;
  SPI_InitStruct.DataWidth = LL_SPI_DATAWIDTH_8BIT;
  SPI_InitStruct.ClockPolarity = LL_SPI_POLARITY_LOW;
  SPI_InitStruct.ClockPhase = LL_SPI_PHASE_1EDGE;
  SPI_InitStruct.NSS = LL_SPI_NSS_SOFT;
  SPI_InitStruct.BaudRate = LL_SPI_BAUDRATEPRESCALER_DIV32;
  SPI_InitStruct.BitOrder = LL_SPI_MSB_FIRST;
  SPI_InitStruct.CRCCalculation = LL_SPI_CRCCALCULATION_DISABLE;
  SPI_InitStruct.CRCPoly = 0x7;
  LL_SPI_Init(SPI2, &SPI_InitStruct);
  LL_SPI_SetStandard(SPI2, LL_SPI_PROTOCOL_MOTOROLA);
  LL_SPI_EnableNSSPulseMgt(SPI2);

}

static void MX_TIM1_Init(void)
{

  TIM_MasterConfigTypeDef sMasterConfig = {0};
  TIM_OC_InitTypeDef sConfigOC = {0};
  TIM_BreakDeadTimeConfigTypeDef sBreakDeadTimeConfig = {0};

  htim1.Instance = TIM1;
  htim1.Init.Prescaler = 0;
  htim1.Init.CounterMode = TIM_COUNTERMODE_UP;
  htim1.Init.Period = 65535;
  htim1.Init.ClockDivision = TIM_CLOCKDIVISION_DIV1;
  htim1.Init.RepetitionCounter = 0;
  htim1.Init.AutoReloadPreload = TIM_AUTORELOAD_PRELOAD_DISABLE;
  if (HAL_TIM_PWM_Init(&htim1) != HAL_OK)
  {
    Error_Handler();
  }
  sMasterConfig.MasterOutputTrigger = TIM_TRGO_RESET;
  sMasterConfig.MasterOutputTrigger2 = TIM_TRGO2_RESET;
  sMasterConfig.MasterSlaveMode = TIM_MASTERSLAVEMODE_DISABLE;
  if (HAL_TIMEx_MasterConfigSynchronization(&htim1, &sMasterConfig) != HAL_OK)
  {
    Error_Handler();
  }
  sConfigOC.OCMode = TIM_OCMODE_PWM1;
  sConfigOC.Pulse = 0;
  sConfigOC.OCPolarity = TIM_OCPOLARITY_HIGH;
  sConfigOC.OCNPolarity = TIM_OCNPOLARITY_HIGH;
  sConfigOC.OCFastMode = TIM_OCFAST_DISABLE;
  sConfigOC.OCIdleState = TIM_OCIDLESTATE_RESET;
  sConfigOC.OCNIdleState = TIM_OCNIDLESTATE_RESET;
  if (HAL_TIM_PWM_ConfigChannel(&htim1, &sConfigOC, TIM_CHANNEL_1) != HAL_OK)
  {
    Error_Handler();
  }
  sBreakDeadTimeConfig.OffStateRunMode = TIM_OSSR_DISABLE;
  sBreakDeadTimeConfig.OffStateIDLEMode = TIM_OSSI_DISABLE;
  sBreakDeadTimeConfig.LockLevel = TIM_LOCKLEVEL_OFF;
  sBreakDeadTimeConfig.DeadTime = 0;
  sBreakDeadTimeConfig.BreakState = TIM_BREAK_DISABLE;
  sBreakDeadTimeConfig.BreakPolarity = TIM_BREAKPOLARITY_HIGH;
  sBreakDeadTimeConfig.BreakFilter = 0;
  sBreakDeadTimeConfig.BreakAFMode = TIM_BREAK_AFMODE_INPUT;
  sBreakDeadTimeConfig.Break2State = TIM_BREAK2_DISABLE;
  sBreakDeadTimeConfig.Break2Polarity = TIM_BREAK2POLARITY_HIGH;
  sBreakDeadTimeConfig.Break2Filter = 0;
  sBreakDeadTimeConfig.Break2AFMode = TIM_BREAK_AFMODE_INPUT;
  sBreakDeadTimeConfig.AutomaticOutput = TIM_AUTOMATICOUTPUT_DISABLE;
  if (HAL_TIMEx_ConfigBreakDeadTime(&htim1, &sBreakDeadTimeConfig) != HAL_OK)
  {
    Error_Handler();
  }
  HAL_TIM_MspPostInit(&htim1);

}

static void MX_TIM3_Init(void)
{

  TIM_MasterConfigTypeDef sMasterConfig = {0};
  TIM_OC_InitTypeDef sConfigOC = {0};

  htim3.Instance = TIM3;
  htim3.Init.Prescaler = 0;
  htim3.Init.CounterMode = TIM_COUNTERMODE_UP;
  htim3.Init.Period = 4294967295;
  htim3.Init.ClockDivision = TIM_CLOCKDIVISION_DIV1;
  htim3.Init.AutoReloadPreload = TIM_AUTORELOAD_PRELOAD_DISABLE;
  if (HAL_TIM_PWM_Init(&htim3) != HAL_OK)
  {
    Error_Handler();
  }
  sMasterConfig.MasterOutputTrigger = TIM_TRGO_RESET;
  sMasterConfig.MasterSlaveMode = TIM_MASTERSLAVEMODE_DISABLE;
  if (HAL_TIMEx_MasterConfigSynchronization(&htim3, &sMasterConfig) != HAL_OK)
  {
    Error_Handler();
  }
  sConfigOC.OCMode = TIM_OCMODE_PWM1;
  sConfigOC.Pulse = 0;
  sConfigOC.OCPolarity = TIM_OCPOLARITY_HIGH;
  sConfigOC.OCFastMode = TIM_OCFAST_DISABLE;
  if (HAL_TIM_PWM_ConfigChannel(&htim3, &sConfigOC, TIM_CHANNEL_3) != HAL_OK)
  {
    Error_Handler();
  }
  if (HAL_TIM_PWM_ConfigChannel(&htim3, &sConfigOC, TIM_CHANNEL_4) != HAL_OK)
  {
    Error_Handler();
  }
  HAL_TIM_MspPostInit(&htim3);

}

static void MX_GPIO_Init(void)
{
  LL_EXTI_InitTypeDef EXTI_InitStruct = {0};
  LL_GPIO_InitTypeDef GPIO_InitStruct = {0};

  /* GPIO Ports Clock Enable */
  LL_AHB2_GRP1_EnableClock(LL_AHB2_GRP1_PERIPH_GPIOE);
  LL_AHB2_GRP1_EnableClock(LL_AHB2_GRP1_PERIPH_GPIOC);
  LL_AHB2_GRP1_EnableClock(LL_AHB2_GRP1_PERIPH_GPIOA);
  LL_AHB2_GRP1_EnableClock(LL_AHB2_GRP1_PERIPH_GPIOB);
  LL_AHB2_GRP1_EnableClock(LL_AHB2_GRP1_PERIPH_GPIOD);
  LL_AHB2_GRP1_EnableClock(LL_AHB2_GRP1_PERIPH_GPIOH);

  /**/
  LL_GPIO_ResetOutputPin(GPIOE, EWDT_FEED_Pin|LED_RGB2_RED_Pin|LED_RGB2_GREEN_Pin|LED_RGB2_BLUE_Pin
                          |LED_RGB1_RED_Pin|LED_RGB1_GREEN_Pin|LED_RGB1_BLUE_Pin|MODBUS_EN_FLT_Pin);

  /**/
  LL_GPIO_ResetOutputPin(GPIOA, RF_IO1_Pin|MODBUS_OE_Pin);

  /**/
  LL_GPIO_ResetOutputPin(GPIOD, BMS_OE_Pin|SPI2_CS_Pin|BMS_RE_Pin|GSM_POWER_ONOFF_Pin);

  /**/
  LL_GPIO_ResetOutputPin(GPIOB, GSM_ONOFF_Pin|GSM_SHUTDOWM_Pin);

  /**/
  LL_GPIO_SetOutputPin(GPIOB, LED_3_Pin|LED_2_Pin);

  /**/
  LL_GPIO_SetOutputPin(LED_1_GPIO_Port, LED_1_Pin);

  /**/
  GPIO_InitStruct.Pin = LL_GPIO_PIN_2|LL_GPIO_PIN_3|LL_GPIO_PIN_4|LL_GPIO_PIN_5
                          |LL_GPIO_PIN_1;
  GPIO_InitStruct.Mode = LL_GPIO_MODE_ANALOG;
  GPIO_InitStruct.Pull = LL_GPIO_PULL_NO;
  LL_GPIO_Init(GPIOE, &GPIO_InitStruct);

  /**/
  GPIO_InitStruct.Pin = EWDT_FEED_Pin;
  GPIO_InitStruct.Mode = LL_GPIO_MODE_OUTPUT;
  GPIO_InitStruct.Speed = LL_GPIO_SPEED_FREQ_LOW;
  GPIO_InitStruct.OutputType = LL_GPIO_OUTPUT_PUSHPULL;
  GPIO_InitStruct.Pull = LL_GPIO_PULL_NO;
  LL_GPIO_Init(EWDT_FEED_GPIO_Port, &GPIO_InitStruct);

  /**/
  GPIO_InitStruct.Pin = LL_GPIO_PIN_13|LL_GPIO_PIN_2|LL_GPIO_PIN_3|LL_GPIO_PIN_6
                          |LL_GPIO_PIN_7;
  GPIO_InitStruct.Mode = LL_GPIO_MODE_ANALOG;
  GPIO_InitStruct.Pull = LL_GPIO_PULL_NO;
  LL_GPIO_Init(GPIOC, &GPIO_InitStruct);

  /**/
  GPIO_InitStruct.Pin = USER_HARD_RESET_SW_Pin|DIP_SW2_Pin|DIP_SW1_Pin|RF_IO2_Pin;
  GPIO_InitStruct.Mode = LL_GPIO_MODE_INPUT;
  GPIO_InitStruct.Pull = LL_GPIO_PULL_NO;
  LL_GPIO_Init(GPIOA, &GPIO_InitStruct);

  /**/
  GPIO_InitStruct.Pin = RF_IO1_Pin;
  GPIO_InitStruct.Mode = LL_GPIO_MODE_OUTPUT;
  GPIO_InitStruct.Speed = LL_GPIO_SPEED_FREQ_VERY_HIGH;
  GPIO_InitStruct.OutputType = LL_GPIO_OUTPUT_PUSHPULL;
  GPIO_InitStruct.Pull = LL_GPIO_PULL_NO;
  LL_GPIO_Init(RF_IO1_GPIO_Port, &GPIO_InitStruct);

  /**/
  GPIO_InitStruct.Pin = VREG_SENS_Pin|RF_RESET_Pin|DIN1_Pin|DIN2_Pin
                          |DIN3_Pin;
  GPIO_InitStruct.Mode = LL_GPIO_MODE_INPUT;
  GPIO_InitStruct.Pull = LL_GPIO_PULL_NO;
  LL_GPIO_Init(GPIOB, &GPIO_InitStruct);

  /**/
  GPIO_InitStruct.Pin = LED_3_Pin|LED_2_Pin|GSM_ONOFF_Pin|GSM_SHUTDOWM_Pin;
  GPIO_InitStruct.Mode = LL_GPIO_MODE_OUTPUT;
  GPIO_InitStruct.Speed = LL_GPIO_SPEED_FREQ_LOW;
  GPIO_InitStruct.OutputType = LL_GPIO_OUTPUT_PUSHPULL;
  GPIO_InitStruct.Pull = LL_GPIO_PULL_NO;
  LL_GPIO_Init(GPIOB, &GPIO_InitStruct);

  /**/
  GPIO_InitStruct.Pin = LED_1_Pin|LED_RGB2_RED_Pin|LED_RGB2_GREEN_Pin|LED_RGB2_BLUE_Pin
                          |LED_RGB1_RED_Pin|LED_RGB1_GREEN_Pin|LED_RGB1_BLUE_Pin;
  GPIO_InitStruct.Mode = LL_GPIO_MODE_OUTPUT;
  GPIO_InitStruct.Speed = LL_GPIO_SPEED_FREQ_VERY_HIGH;
  GPIO_InitStruct.OutputType = LL_GPIO_OUTPUT_PUSHPULL;
  GPIO_InitStruct.Pull = LL_GPIO_PULL_NO;
  LL_GPIO_Init(GPIOE, &GPIO_InitStruct);

  /**/
  GPIO_InitStruct.Pin = MODBUS_EN_FLT_Pin;
  GPIO_InitStruct.Mode = LL_GPIO_MODE_OUTPUT;
  GPIO_InitStruct.Speed = LL_GPIO_SPEED_FREQ_VERY_HIGH;
  GPIO_InitStruct.OutputType = LL_GPIO_OUTPUT_OPENDRAIN;
  GPIO_InitStruct.Pull = LL_GPIO_PULL_NO;
  LL_GPIO_Init(MODBUS_EN_FLT_GPIO_Port, &GPIO_InitStruct);

  /**/
  GPIO_InitStruct.Pin = O_GPIO2_Pin|LL_GPIO_PIN_3|LL_GPIO_PIN_4|LL_GPIO_PIN_5;
  GPIO_InitStruct.Mode = LL_GPIO_MODE_ANALOG;
  GPIO_InitStruct.Pull = LL_GPIO_PULL_NO;
  LL_GPIO_Init(GPIOB, &GPIO_InitStruct);

  /**/
  GPIO_InitStruct.Pin = DIN4_Pin|CHARGER_STAT_Pin;
  GPIO_InitStruct.Mode = LL_GPIO_MODE_INPUT;
  GPIO_InitStruct.Pull = LL_GPIO_PULL_NO;
  LL_GPIO_Init(GPIOD, &GPIO_InitStruct);

  /**/
  GPIO_InitStruct.Pin = LL_GPIO_PIN_9|LL_GPIO_PIN_10|LL_GPIO_PIN_11|LL_GPIO_PIN_12
                          |LL_GPIO_PIN_13|LL_GPIO_PIN_15;
  GPIO_InitStruct.Mode = LL_GPIO_MODE_ANALOG;
  GPIO_InitStruct.Pull = LL_GPIO_PULL_NO;
  LL_GPIO_Init(GPIOD, &GPIO_InitStruct);

  /**/
  GPIO_InitStruct.Pin = PWM1_Pin|LL_GPIO_PIN_10|LL_GPIO_PIN_11|LL_GPIO_PIN_12;
  GPIO_InitStruct.Mode = LL_GPIO_MODE_ANALOG;
  GPIO_InitStruct.Pull = LL_GPIO_PULL_NO;
  LL_GPIO_Init(GPIOA, &GPIO_InitStruct);

  /**/
  GPIO_InitStruct.Pin = LL_GPIO_PIN_13;
  GPIO_InitStruct.Mode = LL_GPIO_MODE_ALTERNATE;
  GPIO_InitStruct.Speed = LL_GPIO_SPEED_FREQ_LOW;
  GPIO_InitStruct.OutputType = LL_GPIO_OUTPUT_PUSHPULL;
  GPIO_InitStruct.Pull = LL_GPIO_PULL_UP;
  GPIO_InitStruct.Alternate = LL_GPIO_AF_0;
  LL_GPIO_Init(GPIOA, &GPIO_InitStruct);

  /**/
  GPIO_InitStruct.Pin = MODBUS_OE_Pin;
  GPIO_InitStruct.Mode = LL_GPIO_MODE_OUTPUT;
  GPIO_InitStruct.Speed = LL_GPIO_SPEED_FREQ_LOW;
  GPIO_InitStruct.OutputType = LL_GPIO_OUTPUT_PUSHPULL;
  GPIO_InitStruct.Pull = LL_GPIO_PULL_NO;
  LL_GPIO_Init(MODBUS_OE_GPIO_Port, &GPIO_InitStruct);

  /**/
  GPIO_InitStruct.Pin = BMS_OE_Pin|SPI2_CS_Pin|BMS_RE_Pin|GSM_POWER_ONOFF_Pin;
  GPIO_InitStruct.Mode = LL_GPIO_MODE_OUTPUT;
  GPIO_InitStruct.Speed = LL_GPIO_SPEED_FREQ_LOW;
  GPIO_InitStruct.OutputType = LL_GPIO_OUTPUT_PUSHPULL;
  GPIO_InitStruct.Pull = LL_GPIO_PULL_NO;
  LL_GPIO_Init(GPIOD, &GPIO_InitStruct);

  /**/
  GPIO_InitStruct.Pin = LL_GPIO_PIN_3;
  GPIO_InitStruct.Mode = LL_GPIO_MODE_ANALOG;
  GPIO_InitStruct.Pull = LL_GPIO_PULL_NO;
  LL_GPIO_Init(GPIOH, &GPIO_InitStruct);

  /**/
  GPIO_InitStruct.Pin = GSM_SW_RDY_Pin;
  GPIO_InitStruct.Mode = LL_GPIO_MODE_INPUT;
  GPIO_InitStruct.Pull = LL_GPIO_PULL_NO;
  LL_GPIO_Init(GSM_SW_RDY_GPIO_Port, &GPIO_InitStruct);

  /**/
  LL_EXTI_SetEXTISource(LL_EXTI_CONFIG_PORTE, LL_EXTI_CONFIG_LINE15);

  /**/
  EXTI_InitStruct.Line_0_31 = LL_EXTI_LINE_15;
  EXTI_InitStruct.LineCommand = ENABLE;
  EXTI_InitStruct.Mode = LL_EXTI_MODE_IT;
  EXTI_InitStruct.Trigger = LL_EXTI_TRIGGER_RISING_FALLING;
  LL_EXTI_Init(&EXTI_InitStruct);

  /**/
  LL_GPIO_SetPinPull(PWR_PANIC_GPIO_Port, PWR_PANIC_Pin, LL_GPIO_PULL_NO);

  /**/
  LL_GPIO_SetPinMode(PWR_PANIC_GPIO_Port, PWR_PANIC_Pin, LL_GPIO_MODE_INPUT);

  /* EXTI interrupt init*/
  NVIC_SetPriority(EXTI15_IRQn, NVIC_EncodePriority(NVIC_GetPriorityGrouping(),0, 0));
  NVIC_EnableIRQ(EXTI15_IRQn);

}

void HAL_TIM_PeriodElapsedCallback(TIM_HandleTypeDef *htim)
{
  if (htim->Instance == TIM17)
  {
    HAL_IncTick();
  }
}

void Error_Handler(void)
{
  __disable_irq();
  while (1)
  {
  }
}
